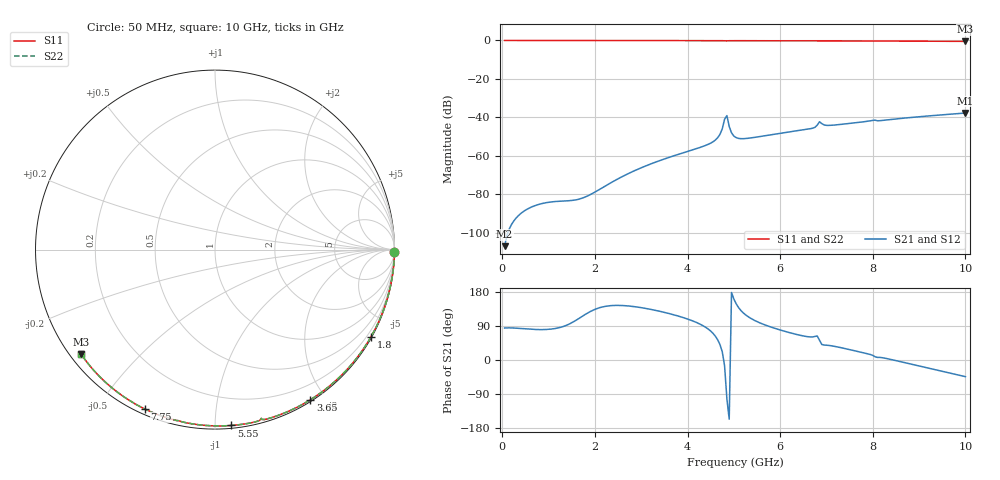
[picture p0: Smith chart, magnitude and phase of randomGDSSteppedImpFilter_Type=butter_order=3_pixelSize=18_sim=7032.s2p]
! freq	dB(S11)	phase(S11)	dB(S12)	phase(S12)
!  dB(S21)	phase(S21)	dB(S22)	phase(S22)
!S-par simulation data
#  GHz  S  DB  R 50
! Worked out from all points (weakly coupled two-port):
!   200 points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, 50 MHz to 10 GHz, reference 50 ohm
!   highest |S21| = -37.73 dB at 10 GHz (marker M1); lowest = -106.9 dB at 50 MHz (marker M2)
!   lowest |S11| = -0.5 dB at 10 GHz (marker M3), VSWR 36.33, Z = 1.54 - j17.1 ohm
!   |S11| at or under -10 dB: nowhere
!   |S22| runs from -0.5 to 0.0 dB; largest |S21 - S12| = 0
!   S11 on the Smith chart (normalised r, x): 50 MHz: open; 1.8 GHz: 0.03, -3.85; 3.65 GHz: 0.02, -1.82; 5.55 GHz: 0.02, -1.10; 7.75 GHz: 0.02, -0.65; 10 GHz: 0.03, -0.34
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0.05  -0.00 -0.8  -106.92 84.4  -106.92 84.4  -0.00 -0.8
1.75  -0.04 -28.3  -81.76 117.2  -81.76 117.2  -0.04 -28.3
1.8  -0.04 -29.1  -81.27 120.9  -81.27 120.9  -0.04 -29.1
1.95  -0.04 -31.5  -79.49 130.9  -79.49 130.9  -0.04 -31.5
2.65  -0.05 -42.4  -70.03 143.3  -70.03 143.3  -0.05 -42.4
3.4  -0.07 -53.8  -62.44 128.6  -62.44 128.6  -0.07 -53.8
3.65  -0.08 -57.6  -60.37 121.0  -60.37 121.0  -0.08 -57.6
4.55  -0.10 -70.8  -52.68 70.4  -52.68 70.4  -0.10 -70.8
4.7  -0.11 -73.0  -48.83 40.8  -48.83 40.8  -0.11 -73.0
4.75  -0.12 -73.8  -45.94 21.8  -45.94 21.8  -0.12 -73.8
4.8  -0.17 -74.7  -40.94 -15.2  -40.94 -15.2  -0.17 -74.7
4.85  -0.22 -74.7  -39.06 -102.9  -39.06 -102.9  -0.22 -74.7
4.9  -0.14 -75.3  -44.70 -156.2  -44.70 -156.2  -0.14 -75.3
4.95  -0.13 -76.1  -48.00 178.2  -48.00 178.2  -0.13 -76.1
5.05  -0.12 -77.6  -50.49 148.5  -50.49 148.5  -0.12 -77.6
5.55  -0.14 -84.7  -49.99 98.6  -49.99 98.6  -0.14 -84.7
6.7  -0.20 -100.2  -45.62 60.8  -45.62 60.8  -0.20 -100.2
6.85  -0.22 -102.1  -42.26 52.4  -42.26 52.4  -0.22 -102.1
7.05  -0.21 -104.7  -44.15 38.5  -44.15 38.5  -0.21 -104.7
7.75  -0.26 -113.7  -42.43 20.4  -42.43 20.4  -0.26 -113.7
8.35  -0.31 -121.3  -41.15 2.5  -41.15 2.5  -0.31 -121.3
10  -0.48 -142.1  -37.73 -43.9  -37.73 -43.9  -0.48 -142.1
